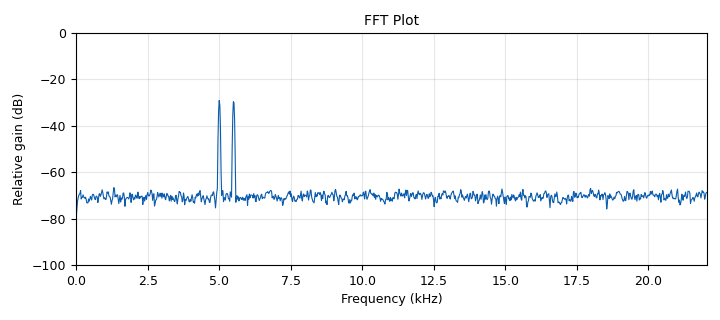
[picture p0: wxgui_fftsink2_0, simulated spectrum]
<?xml version='1.0' encoding='utf-8'?>
<?grc format='1' created='3.7.9'?>
<flow_graph>
<block>
<key>options</key>
<param><key>id</key><value>top_block</value></param>
<param><key>category</key><value>Custom</value></param>
<param><key>generate_options</key><value>wx_gui</value></param>
</block>
<block>
<key>variable_slider</key>
<param><key>id</key><value>Frequency</value></param>
<param><key>converver</key><value>int_converter</value></param>
<param><key>value</key><value>5000</value></param>
<param><key>label</key><value>Frequency</value></param>
<param><key>max</key><value>20000</value></param>
<param><key>min</key><value>10</value></param>
<param><key>num_steps</key><value>1000</value></param>
<param><key>style</key><value>wx.SL_HORIZONTAL</value></param>
</block>
<block>
<key>variable_slider</key>
<param><key>id</key><value>Frequency1</value></param>
<param><key>converver</key><value>int_converter</value></param>
<param><key>value</key><value>5500</value></param>
<param><key>label</key><value>Frequency1</value></param>
<param><key>max</key><value>20000</value></param>
<param><key>min</key><value>10</value></param>
<param><key>num_steps</key><value>1000</value></param>
<param><key>style</key><value>wx.SL_HORIZONTAL</value></param>
</block>
<block>
<key>variable_slider</key>
<param><key>id</key><value>Loudness</value></param>
<param><key>converver</key><value>float_converter</value></param>
<param><key>value</key><value>0.2</value></param>
<param><key>label</key><value>Loudness</value></param>
<param><key>max</key><value>1.0</value></param>
<param><key>min</key><value>0.0</value></param>
<param><key>num_steps</key><value>1000</value></param>
<param><key>style</key><value>wx.SL_HORIZONTAL</value></param>
</block>
<block>
<key>variable_slider</key>
<param><key>id</key><value>Noise</value></param>
<param><key>converver</key><value>float_converter</value></param>
<param><key>value</key><value>1</value></param>
<param><key>_enabled</key><value>0</value></param>
<param><key>label</key><value>Noise</value></param>
<param><key>max</key><value>1</value></param>
<param><key>min</key><value>0.0</value></param>
<param><key>num_steps</key><value>1000</value></param>
<param><key>style</key><value>wx.SL_HORIZONTAL</value></param>
</block>
<block>
<key>variable</key>
<param><key>id</key><value>samp_rate</value></param>
<param><key>value</key><value>44100</value></param>
</block>
<block>
<key>analog_const_source_x</key>
<param><key>id</key><value>analog_const_source_x_0</value></param>
<param><key>const</key><value>.5</value></param>
<param><key>type</key><value>float</value></param>
</block>
<block>
<key>analog_noise_source_x</key>
<param><key>id</key><value>analog_noise_source_x_0</value></param>
<param><key>amp</key><value>1</value></param>
<param><key>noise_type</key><value>analog.GR_GAUSSIAN</value></param>
<param><key>type</key><value>float</value></param>
<param><key>seed</key><value>0</value></param>
</block>
<block>
<key>analog_sig_source_x</key>
<param><key>id</key><value>analog_sig_source_x_0</value></param>
<param><key>amp</key><value>Loudness</value></param>
<param><key>freq</key><value>Frequency</value></param>
<param><key>offset</key><value>0</value></param>
<param><key>type</key><value>complex</value></param>
<param><key>samp_rate</key><value>samp_rate</value></param>
<param><key>waveform</key><value>analog.GR_COS_WAVE</value></param>
</block>
<block>
<key>analog_sig_source_x</key>
<param><key>id</key><value>analog_sig_source_x_0_0</value></param>
<param><key>amp</key><value>Loudness</value></param>
<param><key>freq</key><value>Frequency1</value></param>
<param><key>offset</key><value>0</value></param>
<param><key>type</key><value>complex</value></param>
<param><key>samp_rate</key><value>samp_rate</value></param>
<param><key>waveform</key><value>analog.GR_COS_WAVE</value></param>
</block>
<block>
<key>analog_sig_source_x</key>
<param><key>id</key><value>analog_sig_source_x_0_2</value></param>
<param><key>amp</key><value>.5</value></param>
<param><key>freq</key><value>.1</value></param>
<param><key>offset</key><value>0</value></param>
<param><key>type</key><value>float</value></param>
<param><key>samp_rate</key><value>samp_rate</value></param>
<param><key>waveform</key><value>analog.GR_SAW_WAVE</value></param>
</block>
<block>
<key>audio_sink</key>
<param><key>id</key><value>audio_sink_0</value></param>
<param><key>samp_rate</key><value>44100</value></param>
</block>
<block>
<key>blocks_add_xx</key>
<param><key>id</key><value>blocks_add_xx_0</value></param>
<param><key>type</key><value>complex</value></param>
</block>
<block>
<key>blocks_add_xx</key>
<param><key>id</key><value>blocks_add_xx_1</value></param>
<param><key>type</key><value>float</value></param>
</block>
<block>
<key>blocks_complex_to_real</key>
<param><key>id</key><value>blocks_complex_to_real_0</value></param>
</block>
<block>
<key>blocks_multiply_xx</key>
<param><key>id</key><value>blocks_multiply_xx_0</value></param>
<param><key>type</key><value>float</value></param>
</block>
<block>
<key>blocks_sub_xx</key>
<param><key>id</key><value>blocks_sub_xx_0</value></param>
<param><key>type</key><value>float</value></param>
</block>
<block>
<key>wxgui_fftsink2</key>
<param><key>id</key><value>wxgui_fftsink2_0</value></param>
<param><key>avg_alpha</key><value>0.1</value></param>
<param><key>average</key><value>True</value></param>
<param><key>baseband_freq</key><value>0</value></param>
<param><key>fft_size</key><value>2048</value></param>
<param><key>freqvar</key><value>None</value></param>
<param><key>peak_hold</key><value>True</value></param>
<param><key>ref_level</key><value>0</value></param>
<param><key>ref_scale</key><value>4.0</value></param>
<param><key>fft_rate</key><value>15</value></param>
<param><key>samp_rate</key><value>samp_rate</value></param>
<param><key>title</key><value>FFT Plot</value></param>
<param><key>type</key><value>float</value></param>
<param><key>win</key><value>None</value></param>
<param><key>y_divs</key><value>10</value></param>
<param><key>y_per_div</key><value>10</value></param>
</block>
<block>
<key>wxgui_scopesink2</key>
<param><key>id</key><value>wxgui_scopesink2_0</value></param>
<param><key>ac_couple</key><value>True</value></param>
<param><key>_enabled</key><value>0</value></param>
<param><key>num_inputs</key><value>1</value></param>
<param><key>samp_rate</key><value>1</value></param>
<param><key>t_scale</key><value>0</value></param>
<param><key>title</key><value>Scope Plot</value></param>
<param><key>trig_mode</key><value>wxgui.TRIG_MODE_AUTO</value></param>
<param><key>type</key><value>float</value></param>
<param><key>v_offset</key><value>0</value></param>
<param><key>v_scale</key><value>0</value></param>
<param><key>xy_mode</key><value>False</value></param>
<param><key>y_axis_label</key><value>Counts</value></param>
</block>
<connection><source_block_id>analog_const_source_x_0</source_block_id><sink_block_id>blocks_sub_xx_0</sink_block_id><source_key>0</source_key><sink_key>0</sink_key></connection>
<connection><source_block_id>analog_noise_source_x_0</source_block_id><sink_block_id>blocks_multiply_xx_0</sink_block_id><source_key>0</source_key><sink_key>1</sink_key></connection>
<connection><source_block_id>analog_sig_source_x_0</source_block_id><sink_block_id>blocks_add_xx_0</sink_block_id><source_key>0</source_key><sink_key>1</sink_key></connection>
<connection><source_block_id>analog_sig_source_x_0_0</source_block_id><sink_block_id>blocks_add_xx_0</sink_block_id><source_key>0</source_key><sink_key>0</sink_key></connection>
<connection><source_block_id>analog_sig_source_x_0_2</source_block_id><sink_block_id>blocks_sub_xx_0</sink_block_id><source_key>0</source_key><sink_key>1</sink_key></connection>
<connection><source_block_id>blocks_add_xx_0</source_block_id><sink_block_id>blocks_complex_to_real_0</sink_block_id><source_key>0</source_key><sink_key>0</sink_key></connection>
<connection><source_block_id>blocks_add_xx_1</source_block_id><sink_block_id>audio_sink_0</sink_block_id><source_key>0</source_key><sink_key>0</sink_key></connection>
<connection><source_block_id>blocks_add_xx_1</source_block_id><sink_block_id>wxgui_fftsink2_0</sink_block_id><source_key>0</source_key><sink_key>0</sink_key></connection>
<connection><source_block_id>blocks_complex_to_real_0</source_block_id><sink_block_id>blocks_add_xx_1</sink_block_id><source_key>0</source_key><sink_key>1</sink_key></connection>
<connection><source_block_id>blocks_multiply_xx_0</source_block_id><sink_block_id>blocks_add_xx_1</sink_block_id><source_key>0</source_key><sink_key>0</sink_key></connection>
<connection><source_block_id>blocks_multiply_xx_0</source_block_id><sink_block_id>wxgui_scopesink2_0</sink_block_id><source_key>0</source_key><sink_key>0</sink_key></connection>
<connection><source_block_id>blocks_sub_xx_0</source_block_id><sink_block_id>blocks_multiply_xx_0</sink_block_id><source_key>0</source_key><sink_key>0</sink_key></connection>
</flow_graph>
